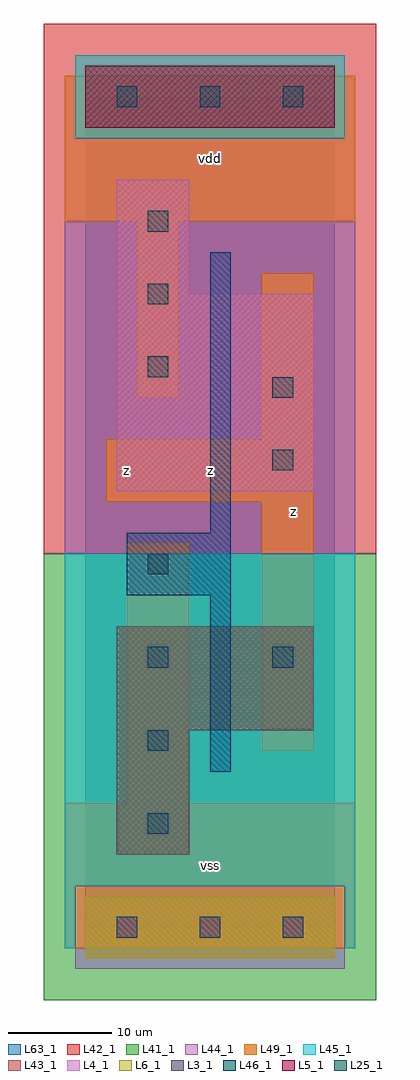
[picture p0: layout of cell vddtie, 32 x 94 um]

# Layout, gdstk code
import gdstk
lib = gdstk.Library(unit=1e-6, precision=1e-09)
def R(c, l, rs):  # rectangles x0, y0, x1, y1
    for r in rs: c.add(gdstk.rectangle(r[:2], r[2:], *l))
def A(c, l, x, y, w, h, nx, ny, dx, dy):  # array of equal rectangles
    R(c, l, [(x+i*dx, y+j*dy, x+i*dx+w, y+j*dy+h) for i in range(nx) for j in range(ny)])
L3_1 = (3, 1)
L4_1 = (4, 1)
L5_1 = (5, 1)
L6_1 = (6, 1)
L25_1 = (25, 1)
L41_1 = (41, 1)
L42_1 = (42, 1)
L43_1 = (43, 1)
L44_1 = (44, 1)
L45_1 = (45, 1)
L46_1 = (46, 1)
L49_1 = (49, 1)
L63_1 = (63, 1)

vddtie = lib.new_cell('vddtie')
R(vddtie, L3_1, [(3,7,10,19), (3,19,22,29)])
R(vddtie, L4_1, [(3,42,22,61), (3,61,10,72)])
R(vddtie, L5_1, [(0,77,24,83)])
R(vddtie, L6_1, [(0,-3,24,3), (0,-3,24,3)])
A(vddtie, L25_1, 3, -1, 2, 2, 3, 2, 8, 80)
A(vddtie, L25_1, 6, 9, 2, 2, 1, 3, 0, 8)
A(vddtie, L25_1, 6, 53, 2, 2, 1, 3, 0, 7)
R(vddtie, L25_1, [(18,25,20,27), (6,34,8,36), (18,44,20,46), (18,51,20,53)])
R(vddtie, L41_1, [(-4,-7,28,36)])
R(vddtie, L42_1, [(-4,36,28,87)])
R(vddtie, L43_1, [(0,-3,24,3), (3,7,10,19), (3,19,22,29), (3,42,22,61), (3,61,10,72), (0,77,24,83)])
R(vddtie, L44_1, [(-1,-4,25,4), (-2,36,26,76), (-2,76,-1,82), (25,76,26,82)])
R(vddtie, L45_1, [(-2,-2,-1,4), (25,-2,26,4), (-2,4,26,36), (-1,76,25,84)])
R(vddtie, L46_1, [(12,15,14,32), (4,32,14,38), (12,38,14,65)])
R(vddtie, L49_1, [(-2,-2,26,12), (4,12,10,37), (17,17,22,41), (2,41,22,47), (17,47,22,63), (5,51,9,68), (-2,68,26,82)])
R(vddtie, L63_1, [(0,0,24,80)])
vddtie.add(gdstk.Label('z', (4,44), layer=49, texttype=1))
vddtie.add(gdstk.Label('vss', (12,6), layer=49, texttype=1))
vddtie.add(gdstk.Label('z', (12,44), layer=49, texttype=1))
vddtie.add(gdstk.Label('vdd', (12,74), layer=49, texttype=1))
vddtie.add(gdstk.Label('z', (20,40), layer=49, texttype=1))

lib.write_gds('vddtie.gds')
